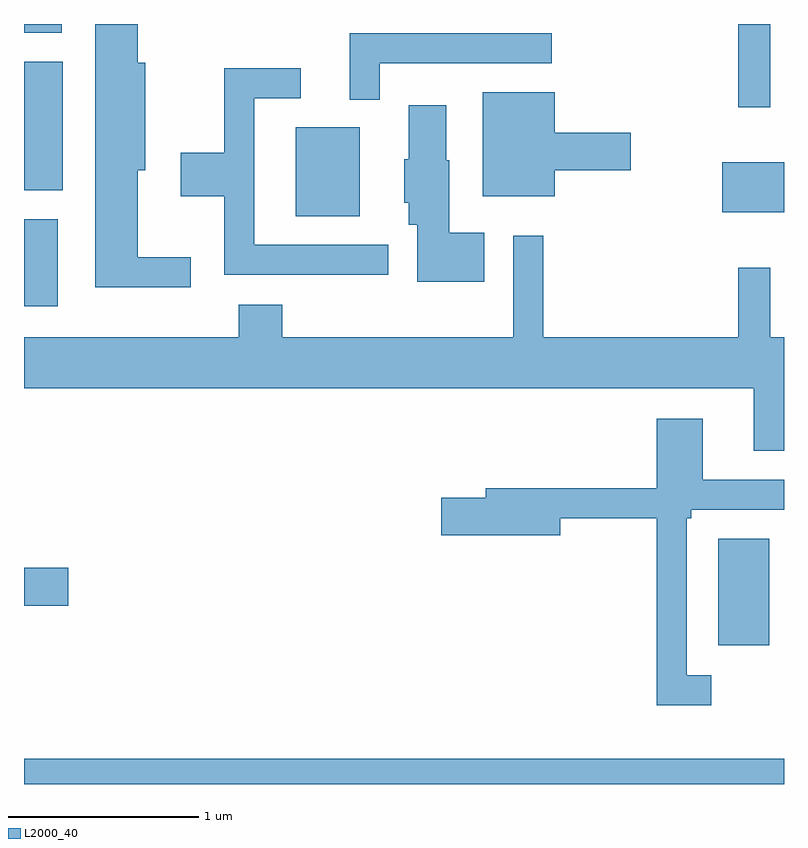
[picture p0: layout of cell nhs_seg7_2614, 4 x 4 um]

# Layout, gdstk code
import gdstk
lib = gdstk.Library(unit=1e-6, precision=1e-09)
def R(c, l, rs):  # rectangles x0, y0, x1, y1
    for r in rs: c.add(gdstk.rectangle(r[:2], r[2:], *l))
def P(c, l, *ps):  # polygons
    for p in ps: c.add(gdstk.Polygon(p, *l))
L2000_40 = (2000, 40)

nhs_seg7_2614 = lib.new_cell('nhs_seg7_2614')
R(nhs_seg7_2614, L2000_40, [(265.611,1692.252,269.611,1692.384), (269.266,1692.981,269.534,1693.544), (265.611,1693.191,265.844,1693.389), (265.611,1694.766,265.789,1695.224), (267.041,1695.241,267.379,1695.709), (269.286,1695.261,269.611,1695.524), (265.611,1695.376,265.814,1696.054), (269.371,1695.813,269.539,1696.252), (265.611,1696.206,265.809,1696.252)])
P(nhs_seg7_2614, L2000_40, [(266.488,1695.024),(266.209,1695.024),(266.209,1695.481),(266.249,1695.481),(266.249,1696.049),(266.209,1696.049),(266.209,1696.252),(265.986,1696.252),(265.986,1694.866),(266.488,1694.866)],
  [(267.484,1696.046),(268.388,1696.046),(268.388,1696.204),(267.326,1696.204),(267.326,1695.853),(267.484,1695.853)],
  [(267.528,1695.089),(266.824,1695.089),(266.824,1695.861),(267.068,1695.861),(267.068,1696.019),(266.666,1696.019),(266.666,1695.574),(266.436,1695.574),(266.436,1695.346),(266.666,1695.346),(266.666,1694.931),(267.528,1694.931)],
  [(268.404,1695.481),(268.804,1695.481),(268.804,1695.679),(268.404,1695.679),(268.404,1695.894),(268.026,1695.894),(268.026,1695.346),(268.404,1695.346)],
  [(268.034,1695.154),(267.849,1695.154),(267.849,1695.535),(267.834,1695.535),(267.834,1695.824),(267.636,1695.824),(267.636,1695.539),(267.611,1695.539),(267.611,1695.311),(267.636,1695.311),(267.636,1695.196),(267.681,1695.196),(267.681,1694.896),(268.034,1694.896)],
  [(269.611,1694.604),(269.539,1694.604),(269.539,1694.968),(269.371,1694.968),(269.371,1694.604),(268.344,1694.604),(268.344,1695.138),(268.186,1695.138),(268.186,1694.604),(266.969,1694.604),(266.969,1694.774),(266.741,1694.774),(266.741,1694.604),(265.611,1694.604),(265.611,1694.336),(269.451,1694.336),(269.451,1694.006),(269.611,1694.006)],
  [(269.228,1692.824),(269.099,1692.824),(269.099,1693.651),(269.124,1693.651),(269.124,1693.696),(269.611,1693.696),(269.611,1693.854),(269.184,1693.854),(269.184,1694.174),(268.941,1694.174),(268.941,1693.809),(268.041,1693.809),(268.041,1693.759),(267.806,1693.759),(267.806,1693.561),(268.434,1693.561),(268.434,1693.651),(268.941,1693.651),(268.941,1692.666),(269.228,1692.666)])

lib.write_gds('nhs_seg7_2614.gds')
